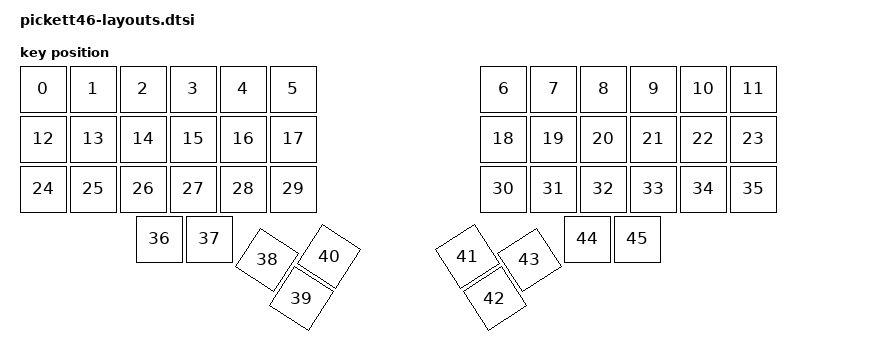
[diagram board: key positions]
#include <physical_layouts.dtsi>

/ {
    pickett46_layout: pickett46_layout {
        compatible = "zmk,physical-layout";
        display-name = "Pickett46";
        transform = <&default_transform>;
        kscan = <&kscan0>;

        // Switch centers from the PCB audit, in matrix transform order.
        keys //                    w   h    x    y       r    rx    ry
            = <&key_physical_attrs 100 100    0    0       0     0     0>
            , <&key_physical_attrs 100 100  100    0       0     0     0>
            , <&key_physical_attrs 100 100  200    0       0     0     0>
            , <&key_physical_attrs 100 100  300    0       0     0     0>
            , <&key_physical_attrs 100 100  400    0       0     0     0>
            , <&key_physical_attrs 100 100  500    0       0     0     0>
            , <&key_physical_attrs 100 100  921    0       0     0     0>
            , <&key_physical_attrs 100 100 1021    0       0     0     0>
            , <&key_physical_attrs 100 100 1121    0       0     0     0>
            , <&key_physical_attrs 100 100 1221    0       0     0     0>
            , <&key_physical_attrs 100 100 1321    0       0     0     0>
            , <&key_physical_attrs 100 100 1421    0       0     0     0>

            , <&key_physical_attrs 100 100    0  100       0     0     0>
            , <&key_physical_attrs 100 100  100  100       0     0     0>
            , <&key_physical_attrs 100 100  200  100       0     0     0>
            , <&key_physical_attrs 100 100  300  100       0     0     0>
            , <&key_physical_attrs 100 100  400  100       0     0     0>
            , <&key_physical_attrs 100 100  500  100       0     0     0>
            , <&key_physical_attrs 100 100  921  100       0     0     0>
            , <&key_physical_attrs 100 100 1021  100       0     0     0>
            , <&key_physical_attrs 100 100 1121  100       0     0     0>
            , <&key_physical_attrs 100 100 1221  100       0     0     0>
            , <&key_physical_attrs 100 100 1321  100       0     0     0>
            , <&key_physical_attrs 100 100 1421  100       0     0     0>

            , <&key_physical_attrs 100 100    0  200       0     0     0>
            , <&key_physical_attrs 100 100  100  200       0     0     0>
            , <&key_physical_attrs 100 100  200  200       0     0     0>
            , <&key_physical_attrs 100 100  300  200       0     0     0>
            , <&key_physical_attrs 100 100  400  200       0     0     0>
            , <&key_physical_attrs 100 100  500  200       0     0     0>
            , <&key_physical_attrs 100 100  921  200       0     0     0>
            , <&key_physical_attrs 100 100 1021  200       0     0     0>
            , <&key_physical_attrs 100 100 1121  200       0     0     0>
            , <&key_physical_attrs 100 100 1221  200       0     0     0>
            , <&key_physical_attrs 100 100 1321  200       0     0     0>
            , <&key_physical_attrs 100 100 1421  200       0     0     0>

            , <&key_physical_attrs 100 100  233  300       0     0     0>
            , <&key_physical_attrs 100 100  333  300       0     0     0>
            , <&key_physical_attrs 100 100  448  342    3300   498   392>
            , <&key_physical_attrs 100 100  517  419    3300   567   469>
            , <&key_physical_attrs 100 100  572  335    3300   622   385>
            , <&key_physical_attrs 100 100  849  335 (-3300)   899   385>
            , <&key_physical_attrs 100 100  904  419 (-3300)   954   469>
            , <&key_physical_attrs 100 100  973  342 (-3300)  1023   392>
            , <&key_physical_attrs 100 100 1088  300       0     0     0>
            , <&key_physical_attrs 100 100 1188  300       0     0     0>;
    };
};
